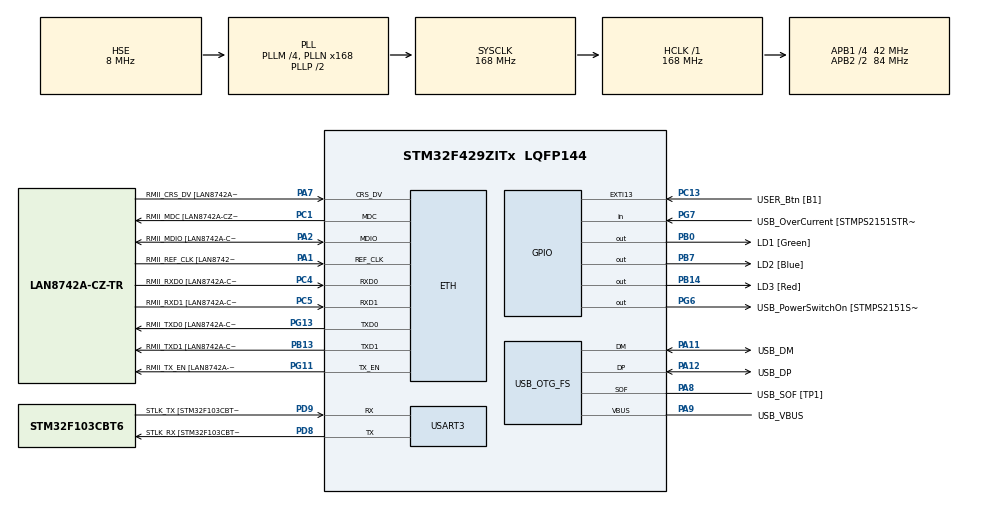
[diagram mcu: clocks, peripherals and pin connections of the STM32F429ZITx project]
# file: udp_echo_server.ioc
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ETH.MACAddr=00\:80\:E1\:01\:02\:04
ETH.MediaInterface=HAL_ETH_RMII_MODE
ETH.PHY_Name=LAN8742A_PHY_ADDRESS
ETH.PHY_Value=0
ETH.PhyAddress=0
LWIP.BSP.number=1
LWIP.GATEWAY_ADDRESS=192.168.000.001
LWIP.IP_ADDRESS=192.168.000.010
LWIP.LWIP_DHCP=0
LWIP.LWIP_HTTPD=0
LWIP.MEM_SIZE=10*1024
LWIP.NETMASK_ADDRESS=255.255.255.000
LWIP.Version=v2.1.2_Cube
LWIP0.BSP.STBoard=false
LWIP0.BSP.api=BSP_COMPONENT_DRIVER
LWIP0.BSP.component=LAN8742
LWIP0.BSP.instance=LAN8742
LWIP0.BSP.name=Driver_PHY
LWIP0.BSP.semaphore=S_LAN8742
LWIP0.BSP.solution=LAN8742
Mcu.Family=STM32F4
Mcu.Name=STM32F429ZITx
Mcu.Package=LQFP144
NVIC.ETH_IRQn=true\:0\:0\:false\:false\:true\:true\:true\:true
NVIC.ETH_WKUP_IRQn=true\:0\:0\:false\:false\:true\:true\:true\:true
NVIC.PriorityGroup=NVIC_PRIORITYGROUP_4
PA1.GPIO_Label=RMII_REF_CLK [LAN8742A-CZ-TR_REFCLK0]
PA1.Mode=RMII
PA1.Signal=ETH_REF_CLK
PA10.GPIO_Label=USB_ID
PA10.Signal=USB_OTG_FS_ID
PA11.GPIO_Label=USB_DM
PA11.Mode=Device_Only
PA11.Signal=USB_OTG_FS_DM
PA12.GPIO_Label=USB_DP
PA12.Mode=Device_Only
PA12.Signal=USB_OTG_FS_DP
PA13.GPIO_Label=TMS
PA13.Mode=Serial_Wire
PA13.Signal=SYS_JTMS-SWDIO
PA14.GPIO_Label=TCK
PA14.Mode=Serial_Wire
PA14.Signal=SYS_JTCK-SWCLK
PA2.GPIO_Label=RMII_MDIO [LAN8742A-CZ-TR_MDIO]
PA2.Mode=RMII
PA2.Signal=ETH_MDIO
PA7.GPIO_Label=RMII_CRS_DV [LAN8742A-CZ-TR_CRS_DV]
PA7.Mode=RMII
PA7.Signal=ETH_CRS_DV
PA8.GPIO_Label=USB_SOF [TP1]
PA8.Mode=Activate_SOF_FS
PA8.Signal=USB_OTG_FS_SOF
PA9.GPIO_Label=USB_VBUS
PA9.Mode=Activate_VBUS
PA9.Signal=USB_OTG_FS_VBUS
PB0.GPIO_Label=LD1 [Green]
PB0.Signal=GPIO_Output
PB13.GPIO_Label=RMII_TXD1 [LAN8742A-CZ-TR_TXD1]
PB13.Mode=RMII
PB13.Signal=ETH_TXD1
PB14.GPIO_Label=LD3 [Red]
PB14.Signal=GPIO_Output
PB7.GPIO_Label=LD2 [Blue]
PB7.Signal=GPIO_Output
PC1.GPIO_Label=RMII_MDC [LAN8742A-CZ-TR_MDC]
PC1.Mode=RMII
PC1.Signal=ETH_MDC
PC13.GPIO_Label=USER_Btn [B1]
PC13.Signal=GPXTI13
PC14/OSC32_IN.Mode=LSE-External-Oscillator
PC14/OSC32_IN.Signal=RCC_OSC32_IN
PC15/OSC32_OUT.Mode=LSE-External-Oscillator
PC15/OSC32_OUT.Signal=RCC_OSC32_OUT
PC4.GPIO_Label=RMII_RXD0 [LAN8742A-CZ-TR_RXD0]
PC4.Mode=RMII
PC4.Signal=ETH_RXD0
PC5.GPIO_Label=RMII_RXD1 [LAN8742A-CZ-TR_RXD1]
PC5.Mode=RMII
PC5.Signal=ETH_RXD1
PD8.GPIO_Label=STLK_RX [STM32F103CBT6_PA3]
PD8.Mode=Asynchronous
PD8.Signal=USART3_TX
PD9.GPIO_Label=STLK_TX [STM32F103CBT6_PA2]
PD9.Mode=Asynchronous
PD9.Signal=USART3_RX
PG11.GPIO_Label=RMII_TX_EN [LAN8742A-CZ-TR_TXEN]
PG11.Mode=RMII
PG11.Signal=ETH_TX_EN
PG13.GPIO_Label=RMII_TXD0 [LAN8742A-CZ-TR_TXD0]
PG13.Mode=RMII
PG13.Signal=ETH_TXD0
PG6.GPIO_Label=USB_PowerSwitchOn [STMPS2151STR_EN]
PG6.Signal=GPIO_Output
PG7.GPIO_Label=USB_OverCurrent [STMPS2151STR_FAULT]
PG7.Signal=GPIO_Input
PH0/OSC_IN.GPIO_Label=MCO [STM32F103CBT6_PA8]
PH0/OSC_IN.Mode=HSE-External-Clock-Source
PH0/OSC_IN.Signal=RCC_OSC_IN
PH1/OSC_OUT.Mode=HSE-External-Clock-Source
PH1/OSC_OUT.Signal=RCC_OSC_OUT
ProjectManager.HeapSize=0x2000
ProjectManager.StackSize=0x4000
ProjectManager.TargetToolchain=STM32CubeIDE
RCC.48MHZClocksFreq_Value=48000000
RCC.AHBFreq_Value=168000000
RCC.APB1CLKDivider=RCC_HCLK_DIV4
RCC.APB1Freq_Value=42000000
RCC.APB1TimFreq_Value=84000000
RCC.APB2CLKDivider=RCC_HCLK_DIV2
RCC.APB2Freq_Value=84000000
RCC.APB2TimCLKDivider=2
RCC.APB2TimFreq_Value=168000000
RCC.CortexFreq_Value=168000000
RCC.HCLKFreq_Value=168000000
RCC.HSE_VALUE=8000000
RCC.HSI_VALUE=16000000
RCC.PLLM=4
RCC.PLLMUL=RCC_PLL_MUL9
RCC.PLLN=168
RCC.PLLQ=7
RCC.PRESCALERUSB=RCC_USBCLKSOURCE_PLL_DIV1_5
RCC.SYSCLKFreq_VALUE=168000000
RCC.SYSCLKSource=RCC_SYSCLKSOURCE_PLLCLK
RCC.SYSCLKSourceVirtual=RCC_SYSCLKSOURCE_PLLCLK
RCC.USBFreq_Value=48000000
RCC.VCOOutputFreq_Value=336000000
USART3.VirtualMode=VM_ASYNC
USB_OTG_FS.VirtualMode=Device_Only
VP_LWIP_VS_Enabled.Mode=Enabled
board=NUCLEO-F429ZI

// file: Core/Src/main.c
/* USER CODE BEGIN Header */
/**
  ******************************************************************************
  * @file           : main.c
  * @brief          : Main program body
  ******************************************************************************
  * @attention
  *
  * Copyright (c) 2023 STMicroelectronics.
  * All rights reserved.
  *
  * This software is licensed under terms that can be found in the LICENSE file
  * in the root directory of this software component.
  * If no LICENSE file comes with this software, it is provided AS-IS.
  *
  ******************************************************************************
  */
/* USER CODE END Header */
#include "main.h"
#include "lwip.h"

/* USER CODE BEGIN Includes */
#include "lwip/udp.h"
#include "lwip/api.h"
#include "lwip/err.h"
//#include "udpServerRAW.h"
/* USER CODE END Includes */

UART_HandleTypeDef huart3;

PCD_HandleTypeDef hpcd_USB_OTG_FS;

/* USER CODE BEGIN PV */
//extern struct netif gnetif;
/* USER CODE END PV */

void SystemClock_Config(void);
static void MX_GPIO_Init(void);
static void MX_USART3_UART_Init(void);
static void MX_USB_OTG_FS_PCD_Init(void);

/* USER CODE BEGIN 0 */
/* Функция для обработки UDP пакетов */
void udp_echo_handler(void *arg, struct udp_pcb *upcb, struct pbuf *p, const ip_addr_t *addr, u16_t port) {
	struct pbuf *dataBuff;
	// Отправляем пакет обратно
	dataBuff = pbuf_alloc(PBUF_TRANSPORT, p->tot_len, PBUF_RAM);
	if (dataBuff != NULL) {
		pbuf_copy(dataBuff, p);
		udp_sendto(upcb, dataBuff, addr, port);
		pbuf_free(dataBuff);
	}
	// Освобождаем полученный пакет
	pbuf_free(p);
}
/* USER CODE END 0 */

int main(void)
{

  /* MCU Configuration--------------------------------------------------------*/

  /* Reset of all peripherals, Initializes the Flash interface and the Systick. */
  HAL_Init();

  /* Configure the system clock */
  SystemClock_Config();

  /* Initialize all configured peripherals */
  MX_GPIO_Init();
  MX_USART3_UART_Init();
  MX_USB_OTG_FS_PCD_Init();
  MX_LWIP_Init();
  /* USER CODE BEGIN 2 */
	struct udp_pcb *udp_pcb;
	udp_pcb = udp_new();
	if (udp_pcb != NULL) {
		/* Привязка соединения к IP-адресу и порту */
		if (udp_bind(udp_pcb, IP_ADDR_ANY, 7) == ERR_OK) {
			/* Установка обработчика для получения пакетов */
			udp_recv(udp_pcb, udp_echo_handler, NULL);
		}
	}
  /* USER CODE END 2 */

  /* Infinite loop */
  /* USER CODE BEGIN WHILE */
  while (1)
  {
		MX_LWIP_Process();
    /* USER CODE END WHILE */

  }
}

void SystemClock_Config(void)
{
  RCC_OscInitTypeDef RCC_OscInitStruct = {0};
  RCC_ClkInitTypeDef RCC_ClkInitStruct = {0};

  /** Configure the main internal regulator output voltage
  */
  __HAL_RCC_PWR_CLK_ENABLE();
  __HAL_PWR_VOLTAGESCALING_CONFIG(PWR_REGULATOR_VOLTAGE_SCALE1);

  /** Initializes the RCC Oscillators according to the specified parameters
  * in the RCC_OscInitTypeDef structure.
  */
  RCC_OscInitStruct.OscillatorType = RCC_OSCILLATORTYPE_HSE;
  RCC_OscInitStruct.HSEState = RCC_HSE_BYPASS;
  RCC_OscInitStruct.PLL.PLLState = RCC_PLL_ON;
  RCC_OscInitStruct.PLL.PLLSource = RCC_PLLSOURCE_HSE;
  RCC_OscInitStruct.PLL.PLLM = 4;
  RCC_OscInitStruct.PLL.PLLN = 168;
  RCC_OscInitStruct.PLL.PLLP = RCC_PLLP_DIV2;
  RCC_OscInitStruct.PLL.PLLQ = 7;
  if (HAL_RCC_OscConfig(&RCC_OscInitStruct) != HAL_OK)
  {
    Error_Handler();
  }

  /** Initializes the CPU, AHB and APB buses clocks
  */
  RCC_ClkInitStruct.ClockType = RCC_CLOCKTYPE_HCLK|RCC_CLOCKTYPE_SYSCLK
                              |RCC_CLOCKTYPE_PCLK1|RCC_CLOCKTYPE_PCLK2;
  RCC_ClkInitStruct.SYSCLKSource = RCC_SYSCLKSOURCE_PLLCLK;
  RCC_ClkInitStruct.AHBCLKDivider = RCC_SYSCLK_DIV1;
  RCC_ClkInitStruct.APB1CLKDivider = RCC_HCLK_DIV4;
  RCC_ClkInitStruct.APB2CLKDivider = RCC_HCLK_DIV2;

  if (HAL_RCC_ClockConfig(&RCC_ClkInitStruct, FLASH_LATENCY_5) != HAL_OK)
  {
    Error_Handler();
  }
}

static void MX_USART3_UART_Init(void)
{

  huart3.Instance = USART3;
  huart3.Init.BaudRate = 115200;
  huart3.Init.WordLength = UART_WORDLENGTH_8B;
  huart3.Init.StopBits = UART_STOPBITS_1;
  huart3.Init.Parity = UART_PARITY_NONE;
  huart3.Init.Mode = UART_MODE_TX_RX;
  huart3.Init.HwFlowCtl = UART_HWCONTROL_NONE;
  huart3.Init.OverSampling = UART_OVERSAMPLING_16;
  if (HAL_UART_Init(&huart3) != HAL_OK)
  {
    Error_Handler();
  }

}

static void MX_USB_OTG_FS_PCD_Init(void)
{

  hpcd_USB_OTG_FS.Instance = USB_OTG_FS;
  hpcd_USB_OTG_FS.Init.dev_endpoints = 4;
  hpcd_USB_OTG_FS.Init.speed = PCD_SPEED_FULL;
  hpcd_USB_OTG_FS.Init.dma_enable = DISABLE;
  hpcd_USB_OTG_FS.Init.phy_itface = PCD_PHY_EMBEDDED;
  hpcd_USB_OTG_FS.Init.Sof_enable = ENABLE;
  hpcd_USB_OTG_FS.Init.low_power_enable = DISABLE;
  hpcd_USB_OTG_FS.Init.lpm_enable = DISABLE;
  hpcd_USB_OTG_FS.Init.vbus_sensing_enable = ENABLE;
  hpcd_USB_OTG_FS.Init.use_dedicated_ep1 = DISABLE;
  if (HAL_PCD_Init(&hpcd_USB_OTG_FS) != HAL_OK)
  {
    Error_Handler();
  }

}

static void MX_GPIO_Init(void)
{
  GPIO_InitTypeDef GPIO_InitStruct = {0};

  /* GPIO Ports Clock Enable */
  __HAL_RCC_GPIOC_CLK_ENABLE();
  __HAL_RCC_GPIOH_CLK_ENABLE();
  __HAL_RCC_GPIOA_CLK_ENABLE();
  __HAL_RCC_GPIOB_CLK_ENABLE();
  __HAL_RCC_GPIOD_CLK_ENABLE();
  __HAL_RCC_GPIOG_CLK_ENABLE();

  /*Configure GPIO pin Output Level */
  HAL_GPIO_WritePin(GPIOB, LD1_Pin|LD3_Pin|LD2_Pin, GPIO_PIN_RESET);

  /*Configure GPIO pin Output Level */
  HAL_GPIO_WritePin(USB_PowerSwitchOn_GPIO_Port, USB_PowerSwitchOn_Pin, GPIO_PIN_RESET);

  /*Configure GPIO pin : USER_Btn_Pin */
  GPIO_InitStruct.Pin = USER_Btn_Pin;
  GPIO_InitStruct.Mode = GPIO_MODE_IT_RISING;
  GPIO_InitStruct.Pull = GPIO_NOPULL;
  HAL_GPIO_Init(USER_Btn_GPIO_Port, &GPIO_InitStruct);

  /*Configure GPIO pins : LD1_Pin LD3_Pin LD2_Pin */
  GPIO_InitStruct.Pin = LD1_Pin|LD3_Pin|LD2_Pin;
  GPIO_InitStruct.Mode = GPIO_MODE_OUTPUT_PP;
  GPIO_InitStruct.Pull = GPIO_NOPULL;
  GPIO_InitStruct.Speed = GPIO_SPEED_FREQ_LOW;
  HAL_GPIO_Init(GPIOB, &GPIO_InitStruct);

  /*Configure GPIO pin : USB_PowerSwitchOn_Pin */
  GPIO_InitStruct.Pin = USB_PowerSwitchOn_Pin;
  GPIO_InitStruct.Mode = GPIO_MODE_OUTPUT_PP;
  GPIO_InitStruct.Pull = GPIO_NOPULL;
  GPIO_InitStruct.Speed = GPIO_SPEED_FREQ_LOW;
  HAL_GPIO_Init(USB_PowerSwitchOn_GPIO_Port, &GPIO_InitStruct);

  /*Configure GPIO pin : USB_OverCurrent_Pin */
  GPIO_InitStruct.Pin = USB_OverCurrent_Pin;
  GPIO_InitStruct.Mode = GPIO_MODE_INPUT;
  GPIO_InitStruct.Pull = GPIO_NOPULL;
  HAL_GPIO_Init(USB_OverCurrent_GPIO_Port, &GPIO_InitStruct);

}

void Error_Handler(void)
{
  __disable_irq();
  while (1)
  {
  }
}
